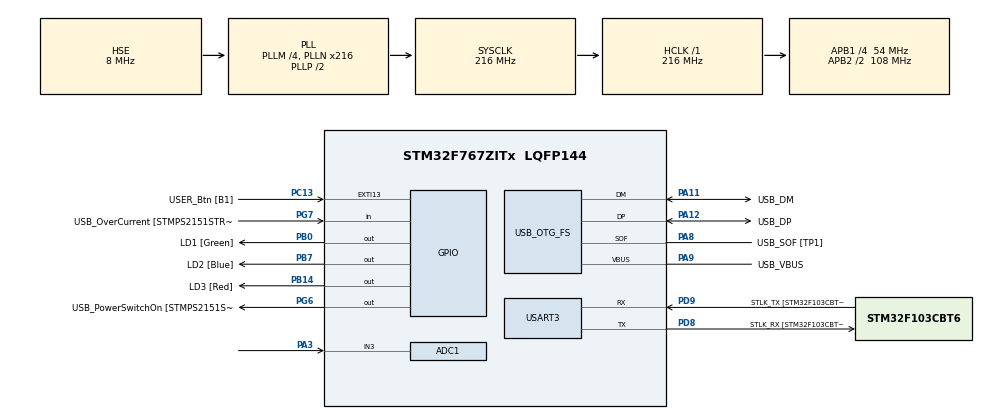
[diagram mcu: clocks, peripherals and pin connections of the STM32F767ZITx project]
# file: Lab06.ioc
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ADC1.Channel-0\#ChannelRegularConversion=ADC_CHANNEL_3
ADC1.ExternalTrigConv=ADC_EXTERNALTRIGCONV_T2_TRGO
ADC1.NbrOfConversionFlag=1
ADC1.Rank-0\#ChannelRegularConversion=1
ADC1.SamplingTime-0\#ChannelRegularConversion=ADC_SAMPLETIME_28CYCLES
ADC1.master=1
Mcu.Family=STM32F7
Mcu.Name=STM32F767ZITx
Mcu.Package=LQFP144
NVIC.ADC_IRQn=true\:2\:0\:true\:false\:true\:true\:true\:true
NVIC.PriorityGroup=NVIC_PRIORITYGROUP_2
PA1.GPIO_Label=RMII_REF_CLK [LAN8742A-CZ-TR_REFCLK0]
PA1.Signal=ETH_REF_CLK
PA10.GPIO_Label=USB_ID
PA10.Signal=USB_OTG_FS_ID
PA11.GPIO_Label=USB_DM
PA11.Mode=Device_Only
PA11.Signal=USB_OTG_FS_DM
PA12.GPIO_Label=USB_DP
PA12.Mode=Device_Only
PA12.Signal=USB_OTG_FS_DP
PA13.GPIO_Label=TMS
PA13.Mode=Serial_Wire
PA13.Signal=SYS_JTMS-SWDIO
PA14.GPIO_Label=TCK
PA14.Mode=Serial_Wire
PA14.Signal=SYS_JTCK-SWCLK
PA2.GPIO_Label=RMII_MDIO [LAN8742A-CZ-TR_MDIO]
PA2.Signal=ETH_MDIO
PA3.Signal=ADCx_IN3
PA7.GPIO_Label=RMII_CRS_DV [LAN8742A-CZ-TR_CRS_DV]
PA7.Signal=ETH_CRS_DV
PA8.GPIO_Label=USB_SOF [TP1]
PA8.Mode=Activate_SOF_FS
PA8.Signal=USB_OTG_FS_SOF
PA9.GPIO_Label=USB_VBUS
PA9.Mode=Activate_VBUS
PA9.Signal=USB_OTG_FS_VBUS
PB0.GPIO_Label=LD1 [Green]
PB0.Signal=GPIO_Output
PB13.GPIO_Label=RMII_TXD1 [LAN8742A-CZ-TR_TXD1]
PB13.Signal=ETH_TXD1
PB14.GPIO_Label=LD3 [Red]
PB14.Signal=GPIO_Output
PB3.GPIO_Label=SWO
PB3.Signal=SYS_JTDO-SWO
PB7.GPIO_Label=LD2 [Blue]
PB7.Signal=GPIO_Output
PC1.GPIO_Label=RMII_MDC [LAN8742A-CZ-TR_MDC]
PC1.Signal=ETH_MDC
PC13.GPIO_Label=USER_Btn [B1]
PC13.Signal=GPXTI13
PC14/OSC32_IN.Mode=LSE-External-Oscillator
PC14/OSC32_IN.Signal=RCC_OSC32_IN
PC15/OSC32_OUT.Mode=LSE-External-Oscillator
PC15/OSC32_OUT.Signal=RCC_OSC32_OUT
PC4.GPIO_Label=RMII_RXD0 [LAN8742A-CZ-TR_RXD0]
PC4.Signal=ETH_RXD0
PC5.GPIO_Label=RMII_RXD1 [LAN8742A-CZ-TR_RXD1]
PC5.Signal=ETH_RXD1
PD8.GPIO_Label=STLK_RX [STM32F103CBT6_PA3]
PD8.Mode=Asynchronous
PD8.Signal=USART3_TX
PD9.GPIO_Label=STLK_TX [STM32F103CBT6_PA2]
PD9.Mode=Asynchronous
PD9.Signal=USART3_RX
PG11.GPIO_Label=RMII_TX_EN [LAN8742A-CZ-TR_TXEN]
PG11.Signal=ETH_TX_EN
PG13.GPIO_Label=RMII_TXD0 [LAN8742A-CZ-TR_TXD0]
PG13.Signal=ETH_TXD0
PG6.GPIO_Label=USB_PowerSwitchOn [STMPS2151STR_EN]
PG6.Signal=GPIO_Output
PG7.GPIO_Label=USB_OverCurrent [STMPS2151STR_FAULT]
PG7.Signal=GPIO_Input
PH0/OSC_IN.GPIO_Label=MCO [STM32F103CBT6_PA8]
PH0/OSC_IN.Mode=HSE-External-Clock-Source
PH0/OSC_IN.Signal=RCC_OSC_IN
PH1/OSC_OUT.Mode=HSE-External-Clock-Source
PH1/OSC_OUT.Signal=RCC_OSC_OUT
ProjectManager.HeapSize=0x200
ProjectManager.StackSize=0x400
ProjectManager.TargetToolchain=STM32CubeIDE
RCC.48MHZClocksFreq_Value=24000000
RCC.AHBFreq_Value=216000000
RCC.APB1CLKDivider=RCC_HCLK_DIV4
RCC.APB1Freq_Value=54000000
RCC.APB1TimFreq_Value=108000000
RCC.APB2CLKDivider=RCC_HCLK_DIV2
RCC.APB2Freq_Value=108000000
RCC.APB2TimFreq_Value=216000000
RCC.CortexFreq_Value=216000000
RCC.HCLKFreq_Value=216000000
RCC.HSE_VALUE=8000000
RCC.HSI_VALUE=16000000
RCC.PLLM=4
RCC.PLLMUL=RCC_PLL_MUL9
RCC.PLLN=216
RCC.PLLQ=9
RCC.PRESCALERUSB=RCC_USBCLKSOURCE_PLL_DIV1_5
RCC.SYSCLKFreq_VALUE=216000000
RCC.SYSCLKSource=RCC_SYSCLKSOURCE_PLLCLK
RCC.SYSCLKSourceVirtual=RCC_SYSCLKSOURCE_PLLCLK
RCC.USBFreq_Value=48000000
RCC.VCOOutputFreq_Value=432000000
SH.ADCx_IN3.0=ADC1_IN3,IN3
TIM2.Period=10000-1
TIM2.Prescaler=10800-1
TIM2.TIM_MasterOutputTrigger=TIM_TRGO_UPDATE
USART3.VirtualMode-Asynchronous=VM_ASYNC
USB_OTG_FS.VirtualMode=Device_Only
VP_TIM2_VS_ClockSourceINT.Mode=Internal
board=NUCLEO-F767ZI

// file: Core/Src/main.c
/* USER CODE BEGIN Header */
/**
  ******************************************************************************
  * @file           : main.c
  * @brief          : Main program body
  ******************************************************************************
  * @attention
  *
  * Copyright (c) 2023 STMicroelectronics.
  * All rights reserved.
  *
  * This software is licensed under terms that can be found in the LICENSE file
  * in the root directory of this software component.
  * If no LICENSE file comes with this software, it is provided AS-IS.
  *
  ******************************************************************************
  */
/* USER CODE END Header */
#include "main.h"
#include "adc.h"
#include "tim.h"
#include "usart.h"
#include "usb_otg.h"
#include "gpio.h"

/* USER CODE BEGIN Includes */
#include "stdio.h"
#include "string.h"
/* USER CODE END Includes */

/* USER CODE BEGIN PV */
uint32_t count=0;
/* USER CODE END PV */

void SystemClock_Config(void);

/* USER CODE BEGIN 0 */
void delay(uint32_t delay)
{
	HAL_Delay(delay);
}

void printOut(const char * text)
{
	while(__HAL_UART_GET_FLAG(&huart3,UART_FLAG_TC) == RESET) {}
	HAL_UART_Transmit(&huart3, (uint8_t*) text, strlen(text), 100);
}

void printOutLine(const char * text)
{
	printOut(text);
	printOut("\r\n");
}

void displayNumber(uint32_t countNumber)
{
    char *text;
    sprintf(text, "%u", countNumber);
    printOutLine(countNumber);
}

void displayTime()
{
    char *text;
    uint32_t minutes = count / 60;
    uint32_t seconds = count % 60;

    sprintf(text, "%u:%u\r", minutes, seconds);
    printOut(text);
}

void HAL_ADC_ConvCpltCallback(ADC_HandleTypeDef* hadc) {
	uint32_t adcVal;
	char adcResult[30];

	HAL_GPIO_TogglePin(GPIOB, GPIO_PIN_7);
	adcVal = HAL_ADC_GetValue(hadc);

	sprintf(adcResult, "ADC_Val = 0x%010X\n\r", (unsigned int) adcVal);
	printOut(adcResult);
}
/* USER CODE END 0 */

int main(void)
{

  /* MCU Configuration--------------------------------------------------------*/

  /* Reset of all peripherals, Initializes the Flash interface and the Systick. */
  HAL_Init();

  /* Configure the system clock */
  SystemClock_Config();

  /* Initialize all configured peripherals */
  MX_GPIO_Init();
  MX_USART3_UART_Init();
  MX_USB_OTG_FS_PCD_Init();
  MX_ADC1_Init();
  MX_TIM2_Init();
  /* USER CODE BEGIN 2 */
  HAL_TIM_Base_Start_IT(&htim2);
  /* USER CODE END 2 */

  /* Infinite loop */
  while (1)
  {

    /* USER CODE BEGIN 3 */
      displayNumber(count);
      displayTime();
      delay(400);
  }
  /* USER CODE END 3 */
}

void SystemClock_Config(void)
{
  RCC_OscInitTypeDef RCC_OscInitStruct = {0};
  RCC_ClkInitTypeDef RCC_ClkInitStruct = {0};

  /** Configure LSE Drive Capability
  */
  HAL_PWR_EnableBkUpAccess();

  /** Configure the main internal regulator output voltage
  */
  __HAL_RCC_PWR_CLK_ENABLE();
  __HAL_PWR_VOLTAGESCALING_CONFIG(PWR_REGULATOR_VOLTAGE_SCALE1);

  /** Initializes the RCC Oscillators according to the specified parameters
  * in the RCC_OscInitTypeDef structure.
  */
  RCC_OscInitStruct.OscillatorType = RCC_OSCILLATORTYPE_HSE;
  RCC_OscInitStruct.HSEState = RCC_HSE_BYPASS;
  RCC_OscInitStruct.PLL.PLLState = RCC_PLL_ON;
  RCC_OscInitStruct.PLL.PLLSource = RCC_PLLSOURCE_HSE;
  RCC_OscInitStruct.PLL.PLLM = 4;
  RCC_OscInitStruct.PLL.PLLN = 216;
  RCC_OscInitStruct.PLL.PLLP = RCC_PLLP_DIV2;
  RCC_OscInitStruct.PLL.PLLQ = 9;
  RCC_OscInitStruct.PLL.PLLR = 2;
  if (HAL_RCC_OscConfig(&RCC_OscInitStruct) != HAL_OK)
  {
    Error_Handler();
  }

  /** Activate the Over-Drive mode
  */
  if (HAL_PWREx_EnableOverDrive() != HAL_OK)
  {
    Error_Handler();
  }

  /** Initializes the CPU, AHB and APB buses clocks
  */
  RCC_ClkInitStruct.ClockType = RCC_CLOCKTYPE_HCLK|RCC_CLOCKTYPE_SYSCLK
                              |RCC_CLOCKTYPE_PCLK1|RCC_CLOCKTYPE_PCLK2;
  RCC_ClkInitStruct.SYSCLKSource = RCC_SYSCLKSOURCE_PLLCLK;
  RCC_ClkInitStruct.AHBCLKDivider = RCC_SYSCLK_DIV1;
  RCC_ClkInitStruct.APB1CLKDivider = RCC_HCLK_DIV4;
  RCC_ClkInitStruct.APB2CLKDivider = RCC_HCLK_DIV2;

  if (HAL_RCC_ClockConfig(&RCC_ClkInitStruct, FLASH_LATENCY_7) != HAL_OK)
  {
    Error_Handler();
  }
}

void Error_Handler(void)
{
  __disable_irq();
  while (1)
  {
  }
}
